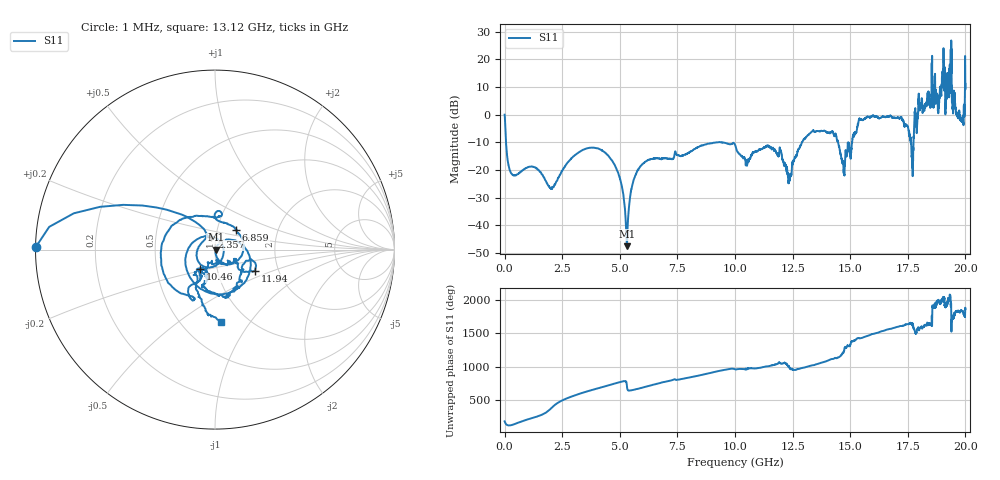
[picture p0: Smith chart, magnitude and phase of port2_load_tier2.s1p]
! Created with skrf 1.8.0 (http://scikit-rf.org).
# GHz S RI R 50.0
!freq ReS11 ImS11
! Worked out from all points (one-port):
!   10001 points, 1 MHz to 20 GHz, reference 50 ohm
!   lowest |S11| = -47.5 dB at 5.309 GHz (marker M1), VSWR 1.01, Z = 50.4 - j0.0978 ohm
!   |S11| at or under -10 dB: 62.72 MHz to 9.188 GHz (9.125 GHz wide, 197 % of centre); 9.428 GHz to 12.91 GHz (3.479 GHz wide, 31.2 % of centre); 14.47 GHz to 15.07 GHz (598.9 MHz wide, 4.05 % of centre) (the widest 3 of 12)
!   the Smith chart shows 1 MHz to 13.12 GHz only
!   S11 on the Smith chart (normalised r, x): 1 MHz: 0.00, +0.01; 2.357 GHz: 0.95, +0.14; 6.859 GHz: 1.23, +0.28; 10.46 GHz: 0.83, -0.19; 11.94 GHz: 1.52, -0.38; 13.12 GHz: 0.77, -0.74
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0.001  -0.9969 0.0165
2.356882  -0.0199 0.0717
2.500875  -0.0649 0.0713
5.00075  0.0498 0.0512
5.308735  0.0041 -0.00097
6.858657  0.1179 0.1093
7.500625  0.0239 0.184
10.0005  -0.1463 -0.2477
10.45848  -0.083 -0.1099
11.9444  0.223 -0.1171
12.50038  -0.0776 -0.1183
13.11834  0.0368 -0.4016
15.00025  -0.0985 -0.166
15.69222  0.8505 0.2071
16.43218  -0.0453 0.9061
17.50013  -0.5847 -0.1527
17.80811  0.0163 1.127
18.0501  -1.172 1.088
18.46208  -1.821 -0.0425
18.66407  -2.432 2.119
18.99605  -3.177 -2.36
19.19004  -0.7007 2.131
19.25804  -3.155 -0.8201
19.30004  -3.62 -1.502
19.40003  -0.9862 -4.758
19.52802  2.086 -0.7165
19.88601  0.7807 0.4363
20  1.884 3.068
